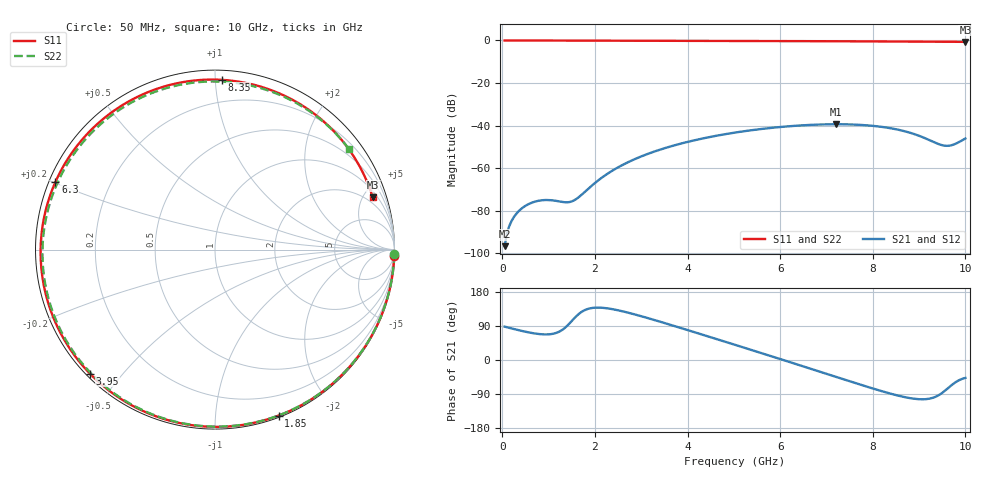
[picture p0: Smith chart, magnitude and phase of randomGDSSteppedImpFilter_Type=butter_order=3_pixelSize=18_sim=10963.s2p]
! freq	dB(S11)	phase(S11)	dB(S12)	phase(S12)
!  dB(S21)	phase(S21)	dB(S22)	phase(S22)
!S-par simulation data
#  GHz  S  DB  R 50
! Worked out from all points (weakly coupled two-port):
!   200 points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, 50 MHz to 10 GHz, reference 50 ohm
!   highest |S21| = -39.36 dB at 7.2 GHz (marker M1); lowest = -96.6 dB at 50 MHz (marker M2)
!   lowest |S11| = -0.7 dB at 10 GHz (marker M3), VSWR 25.87, Z = 71.6 + j292 ohm
!   |S11| at or under -10 dB: nowhere
!   |S22| runs from -0.6 to 0.0 dB; largest |S21 - S12| = 0
!   S11 on the Smith chart (normalised r, x): 50 MHz: 1, -58; 1.85 GHz: 0.02, -1.45; 3.95 GHz: 0.01, -0.41; 6.3 GHz: 0.02, +0.20; 8.35 GHz: 0.06, +1.04; 10 GHz: 1.43, +5.84
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0.05  -0.00 -2.0  -96.63 88.1  -96.63 88.1  -0.01 -1.4
0.35  -0.02 -13.6  -80.28 78.8  -80.28 78.8  -0.01 -9.9
0.6  -0.03 -23.2  -76.54 72.1  -76.54 72.1  -0.02 -17.0
0.85  -0.04 -32.7  -75.08 67.9  -75.08 67.9  -0.03 -24.0
1.45  -0.07 -54.9  -75.91 96.3  -75.91 96.3  -0.05 -40.7
1.75  -0.08 -65.5  -71.77 129.7  -71.77 129.7  -0.06 -48.9
1.85  -0.08 -69.0  -69.80 134.9  -69.80 134.9  -0.07 -51.7
2.5  -0.11 -90.9  -59.60 131.2  -59.60 131.2  -0.09 -69.2
3.4  -0.14 -119.0  -51.33 101.4  -51.33 101.4  -0.13 -93.1
3.95  -0.16 -135.3  -47.93 80.9  -47.93 80.9  -0.15 -107.6
4.5  -0.19 -151.1  -45.28 60.1  -45.28 60.1  -0.18 -122.2
5.05  -0.22 -166.7  -43.19 39.1  -43.19 39.1  -0.22 -137.0
5.7  -0.26 174.7  -41.32 14.2  -41.32 14.2  -0.27 -155.2
6.3  -0.30 157.0  -40.13 -9.1  -40.13 -9.1  -0.32 -172.9
6.7  -0.34 144.8  -39.62 -24.7  -39.62 -24.7  -0.36 174.5
7.2  -0.38 128.8  -39.36 -44.3  -39.36 -44.3  -0.41 157.6
7.75  -0.42 109.9  -39.69 -65.7  -39.69 -65.7  -0.47 137.4
8.35  -0.48 87.8  -41.10 -87.7  -41.10 -87.7  -0.53 113.1
8.95  -0.54 63.9  -44.39 -103.0  -44.39 -103.0  -0.57 86.5
9.55  -0.61 38.3  -49.42 -82.0  -49.42 -82.0  -0.59 58.3
9.75  -0.63 29.5  -48.87 -61.9  -48.87 -61.9  -0.60 48.8
10  -0.67 18.4  -46.05 -47.3  -46.05 -47.3  -0.60 36.9
